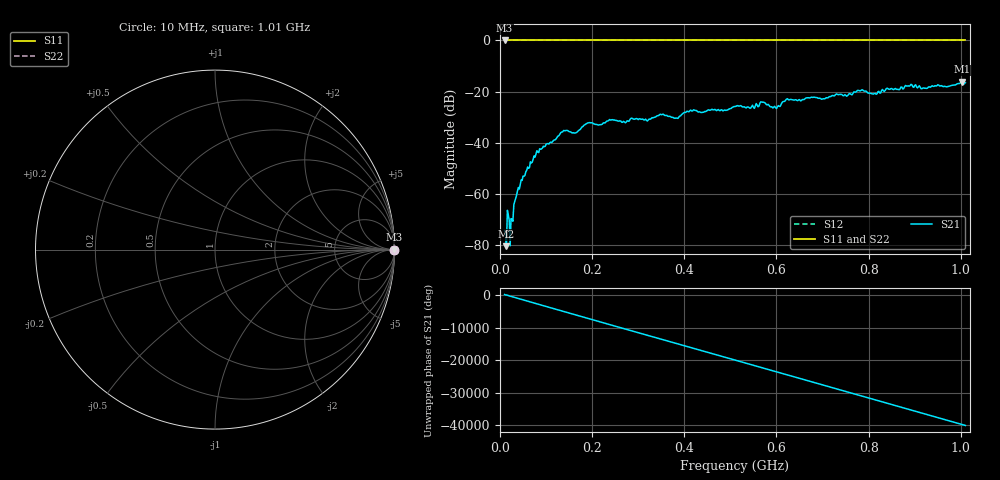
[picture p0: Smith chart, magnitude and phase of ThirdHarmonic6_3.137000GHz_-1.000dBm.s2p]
! 8/17/2025 9:21:21 AM
! C:\ANRITSUVNA\TEMP\TEMP.S2P
! CHANNEL.1
! TR.MEASUREMENT
! RAW.DATA
! RF.CORRECTION.OFF
! AVERAGING.OFF
! IF.BANDWIDTH: 5KHZ
! SWEEPTYPE:  FREQ.SWEEP(Linear)
! Reference Plane Port Info
! PORT:  PORT1  PORT2
! DISTANCE:  0  m  0  m
! TIME:  0  s  0  s
! PHASE.OFFSET:  0  deg.  0  deg.
! LOSS:  0  dB  0  dB
! REF.LOSS:  0  dB  0  dB
! REF.FREQ:  0  Hz  0  Hz
! Power Info
! POWER:  -20  dBm  -20  dBm
! EFF.POWER:  -20  dBm  -20  dBm
! SOURCE.ATTEN:  0  dB  0  dB
! TEST.ATTEN:  0  dB  0  dB
# GHZ S RI R 50.0
! FREQ.GHZ  S11RE  S11IM  S21RE  S21IM  S12RE  S12IM  S22RE  S22IM
!; PortSelection: Port_12
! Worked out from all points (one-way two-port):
!   501 points, 10 MHz to 1.01 GHz, reference 50 ohm
!   highest |S21| = -16.06 dB at 1.002 GHz (marker M1); lowest = -80.4 dB at 14 MHz (marker M2)
!   lowest |S11| = 0.0 dB at 10 MHz (marker M3)
!   |S11| at or under -10 dB: nowhere
!   |S22| runs from 0.0 to 0.0 dB; largest |S21 - S12| = 1.1
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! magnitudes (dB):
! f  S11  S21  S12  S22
! 10 MHz  0.0  -74.3  0.0  0.0
! 14 MHz  0.0  -80.4  0.0  0.0
! 18 MHz  0.0  -68.1  0.0  0.0
! 20 MHz  0.0  -70.1  0.0  0.0
! 24 MHz  0.0  -69.6  0.0  0.0
! 34 MHz  0.0  -61.7  0.0  0.0
! 42 MHz  0.0  -58.0  0.0  0.0
! 78 MHz  0.0  -44.4  0.0  0.0
! 136 MHz  0.0  -35.7  0.0  0.0
! 162 MHz  0.0  -36.2  0.0  0.0
! 178 MHz  0.0  -33.8  0.0  0.0
! 344 MHz  0.0  -29.4  0.0  0.0
! 382 MHz  0.0  -30.3  0.0  0.0
! 410 MHz  0.0  -27.9  0.0  0.0
! 510 MHz  0.0  -25.8  0.0  0.0
! 570 MHz  0.0  -24.1  0.0  0.0
! 596 MHz  0.0  -25.7  0.0  0.0
! 624 MHz  0.0  -22.8  0.0  0.0
! 678 MHz  0.0  -22.2  0.0  0.0
! 844 MHz  0.0  -19.1  0.0  0.0
! 1.002 GHz  0.0  -16.1  0.0  0.0
! 1.01 GHz  0.0  -16.5  0.0  0.0
